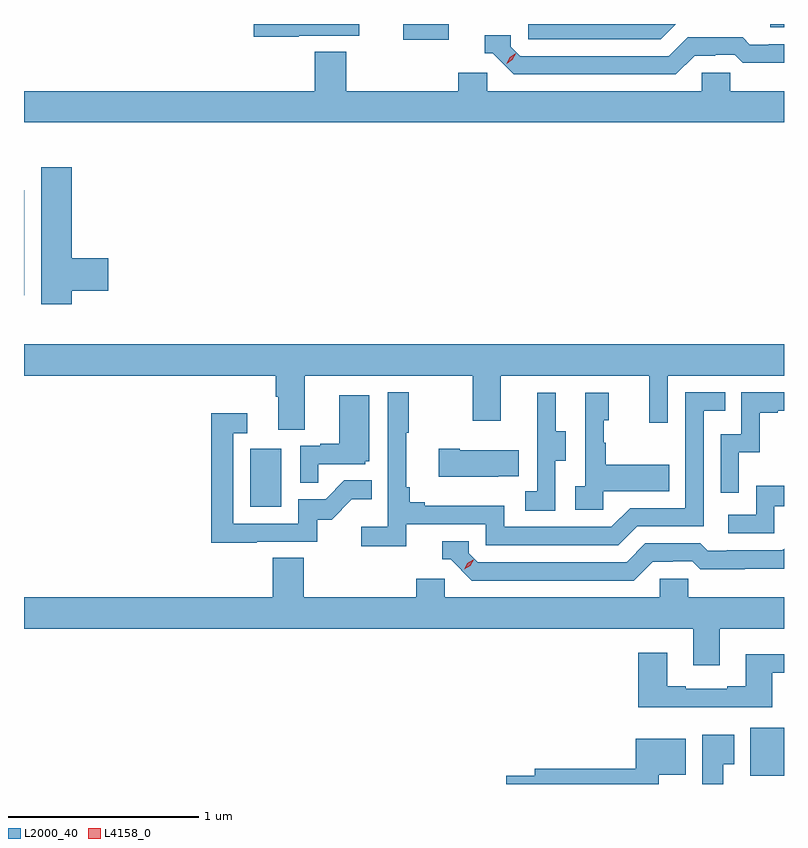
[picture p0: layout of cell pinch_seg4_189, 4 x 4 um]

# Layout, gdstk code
import gdstk
lib = gdstk.Library(unit=1e-6, precision=1e-09)
def R(c, l, rs):  # rectangles x0, y0, x1, y1
    for r in rs: c.add(gdstk.rectangle(r[:2], r[2:], *l))
def P(c, l, *ps):  # polygons
    for p in ps: c.add(gdstk.Polygon(p, *l))
L2000_40 = (2000, 40)
L4158_0 = (4158, 0)

pinch_seg4_189 = lib.new_cell('pinch_seg4_189')
R(pinch_seg4_189, L2000_40, [(966.707,822.686,966.885,822.937), (964.076,824.1,964.24,824.407), (962.885,825.214,962.886,825.766), (964.881,826.558,965.12,826.642), (966.813,826.626,966.885,826.642)])
P(pinch_seg4_189, L2000_40, [(964.331,826.581),(964.65,826.581),(964.65,826.642),(964.093,826.642),(964.093,826.576),(964.331,826.576)],
  [(966.314,826.642),(965.538,826.642),(965.538,826.563),(966.235,826.563)],
  [(966.415,826.476),(966.522,826.476),(966.522,826.479),(966.625,826.479),(966.667,826.437),(966.885,826.437),(966.885,826.536),(966.805,826.536),(966.805,826.533),(966.706,826.533),(966.667,826.572),(966.378,826.572),(966.279,826.473),(965.496,826.473),(965.448,826.521),(965.448,826.584),(965.309,826.584),(965.309,826.488),(965.352,826.488),(965.463,826.377),(966.316,826.377)],
  [(966.885,826.288),(966.603,826.288),(966.603,826.386),(966.453,826.386),(966.453,826.288),(965.322,826.288),(965.322,826.386),(965.171,826.386),(965.171,826.288),(964.58,826.288),(964.58,826.496),(964.415,826.496),(964.415,826.288),(962.885,826.288),(962.885,826.124),(966.885,826.124)],
  [(963.136,825.239),(963.328,825.239),(963.328,825.41),(963.136,825.41),(963.136,825.889),(962.975,825.889),(962.975,825.168),(963.136,825.168)],
  [(964.363,824.792),(965.248,824.792),(965.248,824.553),(965.395,824.553),(965.395,824.792),(966.176,824.792),(966.176,824.544),(966.273,824.544),(966.273,824.792),(966.885,824.792),(966.885,824.956),(962.885,824.956),(962.885,824.792),(964.211,824.792),(964.211,824.68),(964.223,824.68),(964.223,824.506),(964.363,824.506)],
  [(964.898,824.01),(965.316,824.01),(965.316,823.899),(966.013,823.899),(966.112,823.998),(966.462,823.998),(966.462,824.607),(966.575,824.607),(966.575,824.703),(966.366,824.703),(966.366,824.094),(966.075,824.094),(965.976,823.995),(965.412,823.995),(965.412,824.107),(964.993,824.107),(964.993,824.126),(964.916,824.126),(964.916,824.203),(964.897,824.203),(964.897,824.491),(964.909,824.491),(964.909,824.704),(964.8,824.704),(964.8,823.996),(964.659,823.996),(964.659,823.894),(964.898,823.894)],
  [(966.648,824.387),(966.758,824.387),(966.758,824.595),(966.853,824.595),(966.853,824.607),(966.885,824.607),(966.885,824.703),(966.66,824.703),(966.66,824.484),(966.552,824.484),(966.552,824.175),(966.648,824.175)],
  [(965.934,824.183),(966.281,824.183),(966.281,824.323),(965.947,824.323),(965.947,824.438),(965.937,824.438),(965.937,824.556),(965.962,824.556),(965.962,824.701),(965.838,824.701),(965.838,824.21),(965.787,824.21),(965.787,824.085),(965.934,824.085)],
  [(965.682,824.344),(965.737,824.344),(965.737,824.499),(965.683,824.499),(965.683,824.701),(965.585,824.701),(965.585,824.487),(965.586,824.487),(965.586,824.183),(965.523,824.183),(965.523,824.08),(965.682,824.08)],
  [(964.433,824.325),(964.68,824.325),(964.68,824.34),(964.702,824.34),(964.702,824.689),(964.544,824.689),(964.544,824.434),(964.445,824.434),(964.445,824.421),(964.338,824.421),(964.338,824.227),(964.433,824.227)],
  [(964.109,823.917),(964.428,823.917),(964.428,824.034),(964.504,824.034),(964.611,824.141),(964.715,824.141),(964.715,824.24),(964.571,824.24),(964.473,824.142),(964.329,824.142),(964.329,824.013),(963.987,824.013),(963.987,824.487),(964.06,824.487),(964.06,824.593),(963.871,824.593),(963.871,823.912),(964.109,823.912)],
  [(965.381,824.261),(965.489,824.261),(965.489,824.398),(965.179,824.398),(965.179,824.406),(965.067,824.406),(965.067,824.258),(965.381,824.258)],
  [(966.834,824.103),(966.885,824.103),(966.885,824.212),(966.738,824.212),(966.738,824.058),(966.591,824.058),(966.591,823.962),(966.834,823.962)],
  [(966.193,823.812),(966.3,823.812),(966.3,823.815),(966.403,823.815),(966.445,823.773),(966.678,823.773),(966.678,823.775),(966.885,823.775),(966.885,823.881),(966.876,823.872),(966.583,823.872),(966.583,823.869),(966.484,823.869),(966.445,823.908),(966.156,823.908),(966.057,823.809),(965.274,823.809),(965.226,823.857),(965.226,823.92),(965.087,823.92),(965.087,823.824),(965.13,823.824),(965.241,823.713),(966.094,823.713)],
  [(966.547,823.46),(966.885,823.46),(966.885,823.624),(966.381,823.624),(966.381,823.722),(966.231,823.722),(966.231,823.624),(965.1,823.624),(965.1,823.722),(964.949,823.722),(964.949,823.624),(964.358,823.624),(964.358,823.832),(964.193,823.832),(964.193,823.624),(962.885,823.624),(962.885,823.46),(966.407,823.46),(966.407,823.266),(966.547,823.266)],
  [(966.823,823.227),(966.885,823.227),(966.885,823.324),(966.683,823.324),(966.683,823.156),(966.587,823.156),(966.587,823.143),(966.367,823.143),(966.367,823.156),(966.271,823.156),(966.271,823.333),(966.119,823.333),(966.119,823.046),(966.823,823.046)],
  [(966.565,822.745),(966.622,822.745),(966.622,822.901),(966.455,822.901),(966.455,822.642),(966.565,822.642)],
  [(966.226,822.692),(966.367,822.692),(966.367,822.88),(966.104,822.88),(966.104,822.722),(965.573,822.722),(965.573,822.686),(965.424,822.686),(965.424,822.642),(966.226,822.642)])
P(pinch_seg4_189, L4158_0, [(965.426,826.434),(965.426,826.435),(965.441,826.467),(965.472,826.487),(965.472,826.487),(965.472,826.486),(965.456,826.454),(965.426,826.434)],
  [(965.202,823.771),(965.202,823.771),(965.219,823.804),(965.25,823.823),(965.251,823.823),(965.251,823.822),(965.234,823.79),(965.203,823.771)])

lib.write_gds('pinch_seg4_189.gds')
